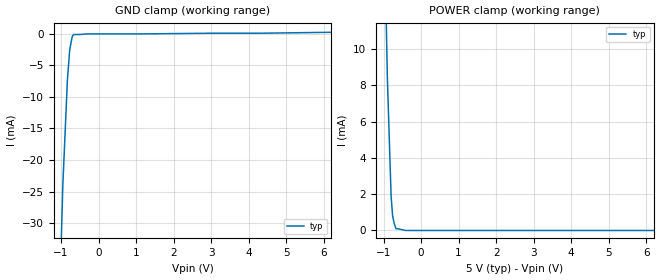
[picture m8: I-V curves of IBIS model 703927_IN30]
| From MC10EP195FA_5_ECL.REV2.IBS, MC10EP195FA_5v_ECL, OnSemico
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| (C) COPYRIGHT 1993-2001
| MENTOR GRAPHICS CORPORATION
| ICX STANDARD LIBRARY, ICX PROJECT MODELING,
| ICX CUSTOM MODELING, ICX VENDOR MODEL
| ALL RIGHTS RESERVED.
| THE FOLLOWING ARE TRADEMARKS OR SERVICE MARKS OF
| MENTOR GRAPHICS CORPORATION:ICX (R), ICX STANDARD
| LIBRARY(R), ICX PROJECT MODELING(R), ICX CUSTOM
| MODELING(R), qualityIBIS(TM), MODELVIEWER(TM),
| AND MODELEDITOR(TM)
| ALL COPIES OF SOFTWARE, INCLUDING BUT NOT LIMITED TO
| ANY MODIFICATIONS, ENHANCEMENTS OR DERIVATIVE WORKS,
| MUST CONTAIN ALL MENTOR GRAPHICS CORPORATION'S
| NOTICES AND LEGENDS, INCLUDING THOSE EMBEDDED IN
| SOFTWARE AND THOSE AFFIXED TO SOFTWARE MEDIUM
| AND CONTAINER, AS RECEIVED FROM MENTOR GRAPHICS
| CORPORATION.
| Model Application Version 1.89 2/18/99.
[Model] 703927_IN30
Model_type Input_ECL
Vinl = 3.455V
Vinh = 3.855V
C_comp 4.000pF NA NA
| variable typ   min   max
[Voltage Range] 5.000V NA NA
[GND Clamp Reference] 0.000V NA NA
[POWER Clamp Reference] 5.000V NA NA
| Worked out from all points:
|   GND clamp passes 1 mA (typ) near -0.72 V on its own axis
|   POWER clamp passes 1 mA (typ) near -0.77 V on its own axis
[GND Clamp]
-5V       -1.07A     NA         NA
-1.115V   -58.4mA    NA         NA
-952mV    -24mA      NA         NA
-831mV    -7.4mA     NA         NA
-770mV    -2.6mA     NA         NA
-709mV    -600uA     NA         NA
-689mV    -300uA     NA         NA
-658.7mV  -100uA     NA         NA
4.236V    100uA      NA         NA
10V       544.2uA    NA         NA
[POWER Clamp]
-5V       557.8mA    NA         NA
-1.04V    23.66mA    NA         NA
-899mV    8.472mA    NA         NA
-798mV    1.88mA     NA         NA
-757mV    782.8uA    NA         NA
-716mV    386uA      NA         NA
-665mV    93.83uA    NA         NA
-614mV    93.83uA    NA         NA
-409.3mV  0A         NA         NA
10V       0A         NA         NA
